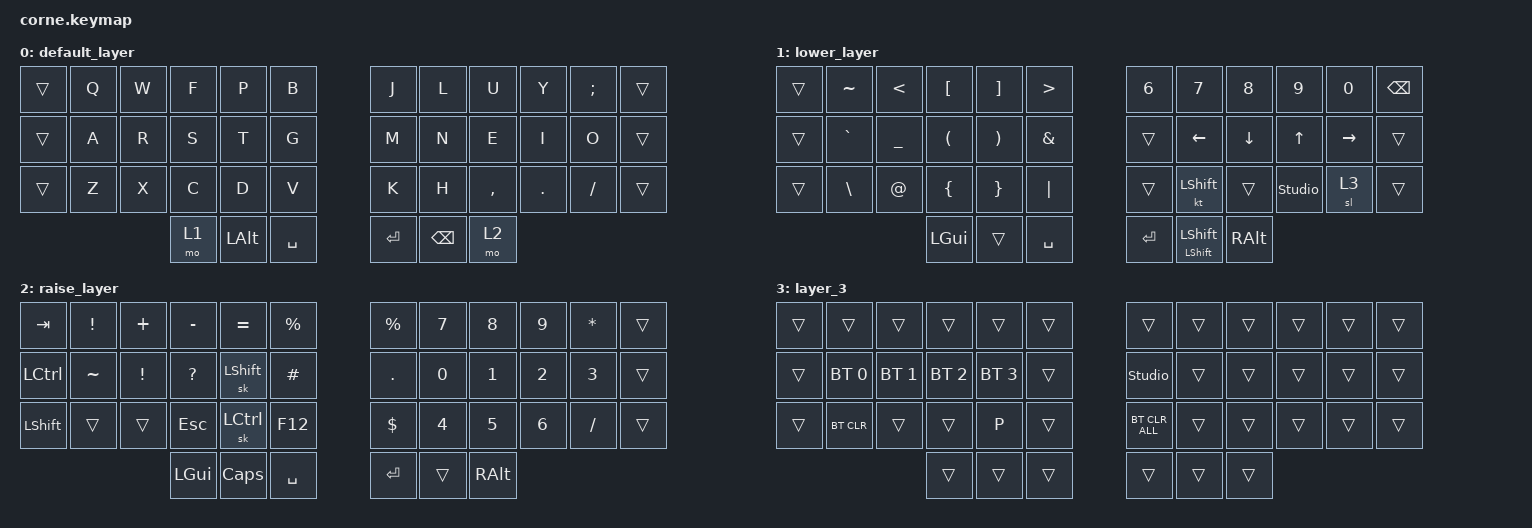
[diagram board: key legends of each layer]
/*
 * Copyright (c) 2020 The ZMK Contributors
 *
 * SPDX-License-Identifier: MIT
 */

#include <behaviors.dtsi>
#include <dt-bindings/zmk/bt.h>
#include <dt-bindings/zmk/keys.h>

/ {
    combos {
        compatible = "zmk,combos";

        tab {
            bindings = <&kp TAB>;
            key-positions = <37 16>;
            layers = <0>;
        };

        ctrl2 {
            bindings = <&sk LCTRL>;
            key-positions = <37 28>;
            layers = <0>;
        };

        alt-tab {
            bindings = <&kp LA(TAB)>;
            key-positions = <37 20>;
            layers = <0>;
        };

        double_dot {
            bindings = <&kp COLON>;
            key-positions = <32 33>;
        };
    };

    keymap {
        compatible = "zmk,keymap";

        default_layer {
            // -----------------------------------------------------------------------------------------
            // |  TAB |  Q  |  W  |  E  |  R  |  T  |   |  Y  |  U   |  I  |  O  |  P  | BSPC |
            // | CTRL |  A  |  S  |  D  |  F  |  G  |   |  H  |  J   |  K  |  L  |  ;  |  '   |
            // | SHFT |  Z  |  X  |  C  |  V  |  B  |   |  N  |  M   |  ,  |  .  |  /  | ESC  |
            //                    | GUI | LWR | SPC |   | ENT | RSE  | ALT |

            bindings = <
&trans  &kp Q  &kp W  &kp F  &kp P         &kp B        &kp J    &kp L          &kp U      &kp Y    &kp SEMICOLON  &trans
&trans  &kp A  &kp R  &kp S  &kp T         &kp G        &kp M    &kp N          &kp E      &kp I    &kp O          &trans
&trans  &kp Z  &kp X  &kp C  &kp D         &kp V        &kp K    &kp H          &kp COMMA  &kp DOT  &kp FSLH       &trans
                      &mo 1  &kp LEFT_ALT  &kp SPACE    &kp RET  &kp BACKSPACE  &mo 2
            >;
        };

        lower_layer {
            // -----------------------------------------------------------------------------------------
            // |  TAB |  1  |  2  |  3  |  4  |  5  |   |  6  |  7  |  8  |  9  |  0  | BSPC |
            // | BTCLR| BT1 | BT2 | BT3 | BT4 | BT5 |   | LFT | DWN |  UP | RGT |     |      |
            // | SHFT |     |     |     |     |     |   |     |     |     |     |     |      |
            //                    | GUI |     | SPC |   | ENT |     | ALT |

            bindings = <
&trans  &kp TILDE      &kp LESS_THAN  &kp LEFT_BRACKET      &kp RIGHT_BRACKET      &kp GREATER_THAN    &kp N6   &kp N7                     &kp N8    &kp N9          &kp N0     &kp BSPC
&trans  &kp GRAVE      &kp UNDER      &kp LEFT_PARENTHESIS  &kp RIGHT_PARENTHESIS  &kp AMPERSAND       &trans   &kp LEFT                   &kp DOWN  &kp UP_ARROW    &kp RIGHT  &trans
&trans  &kp BACKSLASH  &kp AT_SIGN    &kp LEFT_BRACE        &kp RIGHT_BRACE        &kp PIPE            &trans   &kt LEFT_SHIFT             &trans    &studio_unlock  &sl 3      &trans
                                      &kp LGUI              &trans                 &kp SPACE           &kp RET  &mt LEFT_SHIFT LEFT_SHIFT  &kp RALT
            >;
        };

        raise_layer {
            // -----------------------------------------------------------------------------------------
            // |  TAB |  !  |  @  |  #  |  $  |  %  |   |  ^  |  &  |  *  |  (  |  )  | BSPC |
            // | CTRL |     |     |     |     |     |   |  -  |  =  |  [  |  ]  |  \  |  `   |
            // | SHFT |     |     |     |     |     |   |  _  |  +  |  {  |  }  | "|" |  ~   |
            //                    | GUI |     | SPC |   | ENT |     | ALT |

            bindings = <
&kp TAB    &kp EXCL   &kp PLUS         &kp MINUS     &kp EQUAL         &kp PRCNT    &kp PERCENT  &kp N7        &kp N8        &kp N9        &kp ASTERISK  &trans
&kp LCTRL  &kp TILDE  &kp EXCLAMATION  &kp QUESTION  &sk LEFT_SHIFT    &kp HASH     &kp PERIOD   &kp N0        &kp NUMBER_1  &kp NUMBER_2  &kp NUMBER_3  &trans
&kp LSHFT  &trans     &trans           &kp ESCAPE    &sk LEFT_CONTROL  &kp F12      &kp DOLLAR   &kp NUMBER_4  &kp N5        &kp NUMBER_6  &kp SLASH     &trans
                                       &kp LGUI      &kp CLCK          &kp SPACE    &kp RET      &trans        &kp RALT
            >;
        };

        layer_3 {
            bindings = <
&trans  &trans        &trans        &trans        &trans        &trans    &trans          &trans  &trans  &trans  &trans  &trans
&trans  &bt BT_SEL 0  &bt BT_SEL 1  &bt BT_SEL 2  &bt BT_SEL 3  &trans    &studio_unlock  &trans  &trans  &trans  &trans  &trans
&trans  &bt BT_CLR    &trans        &trans        &kp P         &trans    &bt BT_CLR_ALL  &trans  &trans  &trans  &trans  &trans
                                    &trans        &trans        &trans    &trans          &trans  &trans
            >;
        };
    };

    conditional_layers { compatible = "zmk,conditional-layers"; };
};
